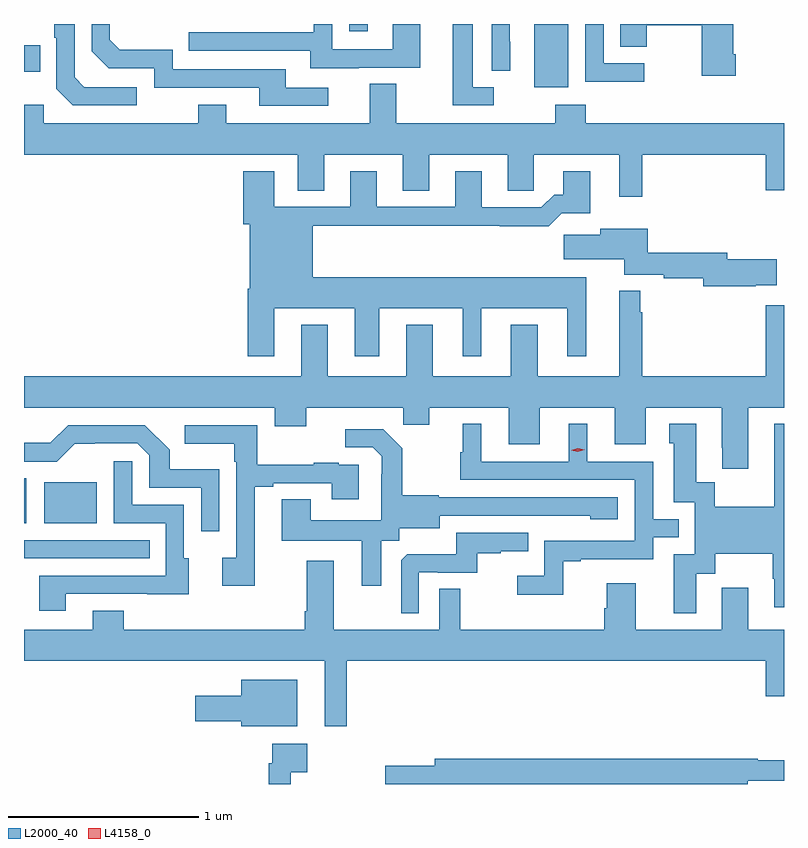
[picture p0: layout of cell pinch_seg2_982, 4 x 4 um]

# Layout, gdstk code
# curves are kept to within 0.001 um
import gdstk
lib = gdstk.Library(unit=1e-6, precision=1e-09)
def R(c, l, rs):  # rectangles x0, y0, x1, y1
    for r in rs: c.add(gdstk.rectangle(r[:2], r[2:], *l))
def P(c, l, *ps):  # polygons
    for p in ps: c.add(gdstk.Polygon(p, *l))
L2000_40 = (2000, 40)
L4158_0 = (4158, 0)

pinch_seg2_982 = lib.new_cell('pinch_seg2_982')
R(pinch_seg2_982, L2000_40, [(161.104,588.234,161.765,588.33), (161.104,588.419,161.116,588.655), (161.21,588.419,161.488,588.634), (163.79,590.714,163.969,591.047), (161.104,590.795,161.189,590.935), (162.816,591.009,162.913,591.047)])
P(pinch_seg2_982, L2000_40, [(163.662,590.954),(163.661,590.954),(163.661,591.047),(163.566,591.047),(163.566,590.8),(163.662,590.8)],
  [(164.368,590.841),(164.154,590.841),(164.154,591.047),(164.058,591.047),(164.058,590.743),(164.368,590.743)],
  [(161.698,590.715),(161.421,590.715),(161.37,590.766),(161.37,591.047),(161.262,591.047),(161.262,590.975),(161.274,590.975),(161.274,590.706),(161.361,590.619),(161.698,590.619)],
  [(162.865,590.817),(163.189,590.817),(163.189,591.047),(163.044,591.047),(163.044,590.913),(162.726,590.913),(162.726,591.047),(162.63,591.047),(162.63,591.003),(161.971,591.003),(161.971,590.907),(162.611,590.907),(162.611,590.813),(162.865,590.813)],
  [(163.576,590.715),(163.465,590.715),(163.465,591.047),(163.361,591.047),(163.361,590.619),(163.576,590.619)],
  [(164.849,590.887),(164.836,590.887),(164.836,591.047),(164.243,591.047),(164.243,590.926),(164.382,590.926),(164.382,591.04),(164.671,591.04),(164.671,590.775),(164.849,590.775)],
  [(162.706,590.712),(162.481,590.712),(162.481,590.808),(161.886,590.808),(161.886,590.911),(161.609,590.911),(161.556,590.964),(161.556,591.047),(161.46,591.047),(161.46,590.904),(161.55,590.814),(161.79,590.814),(161.79,590.712),(162.341,590.712),(162.341,590.616),(162.706,590.616)],
  [(162.169,590.623),(162.022,590.623),(162.022,590.524),(161.208,590.524),(161.208,590.623),(161.104,590.623),(161.104,590.36),(162.545,590.36),(162.545,590.17),(162.685,590.17),(162.685,590.36),(163.097,590.36),(163.097,590.17),(163.237,590.17),(163.237,590.36),(163.649,590.36),(163.649,590.17),(163.788,590.17),(163.788,590.36),(164.237,590.36),(164.237,590.139),(164.359,590.139),(164.359,590.36),(165.008,590.36),(165.008,590.172),(165.104,590.172),(165.104,590.524),(164.06,590.524),(164.06,590.623),(163.9,590.623),(163.9,590.524),(163.063,590.524),(163.063,590.732),(162.923,590.732),(162.923,590.524),(162.169,590.524)],
  [(162.421,589.55),(162.845,589.55),(162.845,589.299),(162.973,589.299),(162.973,589.55),(163.412,589.55),(163.412,589.299),(163.51,589.299),(163.51,589.55),(163.964,589.55),(163.964,589.299),(164.062,589.299),(164.062,589.714),(162.625,589.714),(162.625,589.984),(163.609,589.984),(163.609,589.982),(163.865,589.982),(163.934,590.051),(164.083,590.051),(164.083,590.272),(163.943,590.272),(163.943,590.149),(163.894,590.149),(163.827,590.082),(163.513,590.082),(163.513,590.272),(163.373,590.272),(163.373,590.085),(162.961,590.085),(162.961,590.272),(162.821,590.272),(162.821,590.085),(162.421,590.085),(162.421,590.272),(162.257,590.272),(162.257,589.992),(162.293,589.992),(162.293,589.654),(162.281,589.654),(162.281,589.299),(162.421,589.299)],
  [(164.954,589.673),(165.067,589.673),(165.067,589.808),(164.806,589.808),(164.806,589.844),(164.387,589.844),(164.387,589.969),(164.138,589.969),(164.138,589.937),(163.944,589.937),(163.944,589.808),(164.264,589.808),(164.264,589.728),(164.47,589.728),(164.47,589.708),(164.678,589.708),(164.678,589.666),(164.954,589.666)],
  [(164.917,589.028),(165.104,589.028),(165.104,589.567),(165.008,589.567),(165.008,589.192),(164.359,589.192),(164.359,589.529),(164.348,589.529),(164.348,589.642),(164.237,589.642),(164.237,589.192),(163.807,589.192),(163.807,589.465),(163.667,589.465),(163.667,589.192),(163.255,589.192),(163.255,589.465),(163.115,589.465),(163.115,589.192),(162.703,589.192),(162.703,589.465),(162.563,589.465),(162.563,589.192),(161.104,589.192),(161.104,589.028),(162.425,589.028),(162.425,588.929),(162.589,588.929),(162.589,589.028),(163.099,589.028),(163.099,588.938),(163.237,588.938),(163.237,589.028),(163.655,589.028),(163.655,588.834),(163.819,588.834),(163.819,589.028),(164.213,589.028),(164.213,588.834),(164.377,588.834),(164.377,589.028),(164.777,589.028),(164.777,588.817),(164.78,588.817),(164.78,588.705),(164.917,588.705)],
  [(164.641,588.154),(164.743,588.154),(164.743,588.26),(165.046,588.26),(165.046,588.126),(165.053,588.126),(165.053,587.976),(165.104,587.976),(165.104,588.943),(165.053,588.943),(165.053,588.505),(164.739,588.505),(164.739,588.635),(164.641,588.635),(164.641,588.943),(164.501,588.943),(164.501,588.84),(164.525,588.84),(164.525,588.531),(164.634,588.531),(164.634,588.255),(164.525,588.255),(164.525,587.946),(164.641,587.946)],
  [(163.941,588.219),(164.035,588.219),(164.035,588.231),(164.415,588.231),(164.415,588.345),(164.549,588.345),(164.549,588.441),(164.415,588.441),(164.415,588.744),(164.068,588.744),(164.068,588.943),(163.97,588.943),(163.97,588.744),(163.51,588.744),(163.51,588.943),(163.412,588.943),(163.412,588.792),(163.401,588.792),(163.401,588.648),(164.319,588.648),(164.319,588.327),(163.842,588.327),(163.842,588.142),(163.701,588.142),(163.701,588.044),(163.941,588.044)],
  [(162.319,588.612),(162.415,588.612),(162.415,588.63),(162.725,588.63),(162.725,588.546),(162.865,588.546),(162.865,588.726),(162.761,588.726),(162.761,588.739),(162.629,588.739),(162.629,588.728),(162.331,588.728),(162.331,588.936),(161.949,588.936),(161.949,588.839),(162.21,588.839),(162.21,588.743),(162.222,588.743),(162.222,588.238),(162.147,588.238),(162.147,588.09),(162.319,588.09)],
  [(162.132,588.703),(161.871,588.703),(161.871,588.806),(161.74,588.936),(161.337,588.936),(161.243,588.842),(161.104,588.842),(161.104,588.744),(161.277,588.744),(161.372,588.839),(161.7,588.84),(161.763,588.777),(161.763,588.606),(162.036,588.606),(162.036,588.378),(162.132,588.378)],
  [(162.985,588.328),(163.08,588.328),(163.08,588.392),(163.291,588.392),(163.291,588.459),(164.085,588.458),(164.085,588.44),(164.23,588.44),(164.23,588.555),(163.287,588.555),(163.287,588.568),(163.095,588.568),(163.095,588.813),(162.995,588.913),(162.795,588.913),(162.795,588.819),(162.939,588.819),(162.986,588.772),(162.986,588.677),(162.984,588.677),(162.984,588.436),(162.613,588.436),(162.613,588.545),(162.461,588.545),(162.461,588.326),(162.881,588.326),(162.881,588.09),(162.985,588.09)],
  [(161.323,588.048),(161.753,588.048),(161.753,588.047),(161.971,588.047),(161.971,588.234),(161.946,588.234),(161.946,588.516),(161.673,588.516),(161.673,588.745),(161.577,588.745),(161.577,588.42),(161.85,588.42),(161.85,588.144),(161.183,588.144),(161.183,587.958),(161.323,587.958)],
  [(163.182,588.162),(163.282,588.162),(163.282,588.159),(163.49,588.159),(163.49,588.261),(163.613,588.261),(163.613,588.272),(163.757,588.272),(163.757,588.369),(163.38,588.369),(163.38,588.257),(163.121,588.257),(163.089,588.225),(163.089,587.945),(163.182,587.945)],
  [(162.803,587.696),(165.008,587.696),(165.008,587.508),(165.104,587.508),(165.104,587.86),(164.917,587.86),(164.917,588.079),(164.777,588.079),(164.777,587.86),(164.323,587.86),(164.323,588.103),(164.171,588.103),(164.171,587.973),(164.159,587.973),(164.159,587.86),(163.399,587.86),(163.399,588.074),(163.29,588.074),(163.29,587.86),(162.733,587.86),(162.733,588.223),(162.593,588.223),(162.593,587.956),(162.581,587.956),(162.581,587.86),(161.629,587.86),(161.629,587.959),(161.465,587.959),(161.465,587.86),(161.104,587.86),(161.104,587.696),(162.686,587.696),(162.686,587.352),(162.803,587.352)],
  [(162.541,587.596),(162.248,587.596),(162.248,587.512),(162.006,587.512),(162.006,587.378),(162.248,587.378),(162.248,587.351),(162.541,587.351)],
  [(162.509,587.108),(162.595,587.108),(162.595,587.26),(162.411,587.26),(162.411,587.156),(162.391,587.156),(162.391,587.047),(162.509,587.047)],
  [(164.912,587.063),(165.104,587.063),(165.104,587.173),(164.966,587.173),(164.966,587.18),(163.265,587.18),(163.265,587.144),(163.005,587.144),(163.005,587.047),(164.912,587.047)])
P(pinch_seg2_982, L4158_0, [(164.019,588.795),(163.983,588.804),(163.983,588.804),(163.983,588.804),(164.019,588.815),(164.055,588.807),(164.055,588.807),(164.055,588.806)])

lib.write_gds('pinch_seg2_982.gds')
